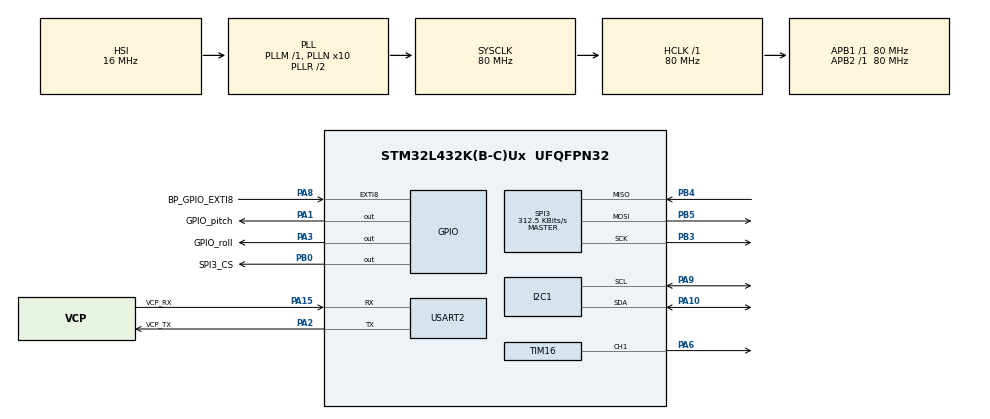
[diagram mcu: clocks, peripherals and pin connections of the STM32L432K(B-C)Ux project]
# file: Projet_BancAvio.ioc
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I2C1.Timing=0x10D19CE4
Mcu.Family=STM32L4
Mcu.Name=STM32L432K(B-C)Ux
Mcu.Package=UFQFPN32
NVIC.EXTI9_5_IRQn=true\:0\:0\:false\:false\:true\:true\:true\:true
NVIC.PriorityGroup=NVIC_PRIORITYGROUP_4
PA0.GPIO_Label=MCO [High speed clock in]
PA0.Signal=RCC_CK_IN
PA1.GPIO_Label=GPIO_pitch
PA1.Signal=GPIO_Output
PA10.Mode=I2C
PA10.Signal=I2C1_SDA
PA13\ (JTMS-SWDIO).GPIO_Label=SWDIO
PA13\ (JTMS-SWDIO).Mode=Serial_Wire
PA13\ (JTMS-SWDIO).Signal=SYS_JTMS-SWDIO
PA14\ (JTCK-SWCLK).GPIO_Label=SWCLK
PA14\ (JTCK-SWCLK).Mode=Serial_Wire
PA14\ (JTCK-SWCLK).Signal=SYS_JTCK-SWCLK
PA15\ (JTDI).GPIO_Label=VCP_RX
PA15\ (JTDI).Mode=Asynchronous
PA15\ (JTDI).Signal=USART2_RX
PA2.GPIO_Label=VCP_TX
PA2.Mode=Asynchronous
PA2.Signal=USART2_TX
PA3.GPIO_Label=GPIO_roll
PA3.Signal=GPIO_Output
PA6.Signal=S_TIM16_CH1
PA8.GPIO_Label=BP_GPIO_EXTI8
PA8.GPIO_ModeDefaultEXTI=GPIO_MODE_IT_FALLING
PA8.GPIO_PuPd=GPIO_PULLUP
PA8.Signal=GPXTI8
PA9.Mode=I2C
PA9.Signal=I2C1_SCL
PB0.GPIO_Label=SPI3_CS
PB0.GPIO_PuPd=GPIO_PULLUP
PB0.GPIO_Speed=GPIO_SPEED_FREQ_HIGH
PB0.PinState=GPIO_PIN_SET
PB0.Signal=GPIO_Output
PB3\ (JTDO-TRACESWO).GPIO_PuPd=GPIO_PULLUP
PB3\ (JTDO-TRACESWO).Mode=Full_Duplex_Master
PB3\ (JTDO-TRACESWO).Signal=SPI3_SCK
PB4\ (NJTRST).GPIO_PuPd=GPIO_PULLUP
PB4\ (NJTRST).Mode=Full_Duplex_Master
PB4\ (NJTRST).Signal=SPI3_MISO
PB5.GPIO_PuPd=GPIO_PULLUP
PB5.Mode=Full_Duplex_Master
PB5.Signal=SPI3_MOSI
PC14-OSC32_IN\ (PC14).Mode=LSE-External-Oscillator
PC14-OSC32_IN\ (PC14).Signal=RCC_OSC32_IN
PC15-OSC32_OUT\ (PC15).Mode=LSE-External-Oscillator
PC15-OSC32_OUT\ (PC15).Signal=RCC_OSC32_OUT
ProjectManager.HeapSize=0x200
ProjectManager.StackSize=0x400
ProjectManager.TargetToolchain=STM32CubeIDE
RCC.ADCFreq_Value=64000000
RCC.AHBFreq_Value=80000000
RCC.APB1Freq_Value=80000000
RCC.APB1TimFreq_Value=80000000
RCC.APB2Freq_Value=80000000
RCC.APB2TimFreq_Value=80000000
RCC.CortexFreq_Value=80000000
RCC.HCLKFreq_Value=80000000
RCC.HSE_VALUE=8000000
RCC.HSI16_VALUE=16000000
RCC.HSI48_VALUE=48000000
RCC.HSI_VALUE=16000000
RCC.MSI_VALUE=4000000
RCC.PLLMUL=RCC_PLLMUL_4
RCC.PLLN=10
RCC.PLLSourceVirtual=RCC_PLLSOURCE_HSI
RCC.SYSCLKFreq_VALUE=80000000
RCC.SYSCLKSource=RCC_SYSCLKSOURCE_PLLCLK
RCC.USBFreq_Value=64000000
RCC.VCOOutputFreq_Value=160000000
SH.S_TIM16_CH1.0=TIM16_CH1,PWM Generation1 CH1
SPI3.BaudRatePrescaler=SPI_BAUDRATEPRESCALER_256
SPI3.CalculateBaudRate=312.5 KBits/s
SPI3.DataSize=SPI_DATASIZE_8BIT
SPI3.Direction=SPI_DIRECTION_2LINES
SPI3.Mode=SPI_MODE_MASTER
SPI3.VirtualType=VM_MASTER
TIM16.Channel=TIM_CHANNEL_1
TIM16.Period=19999
TIM16.Prescaler=79
TIM16.Pulse=1500
USART2.VirtualMode-Asynchronous=VM_ASYNC
VP_FATFS_VS_Generic.Mode=User_defined
VP_TIM16_VS_ClockSourceINT.Mode=Enable_Timer
board=NUCLEO-L432KC

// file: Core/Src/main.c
/* USER CODE BEGIN Header */
/**
  ******************************************************************************
  * @file           : main.c
  * @brief          : Main program body
  ******************************************************************************
  * @attention
  *
  * Copyright (c) 2026 STMicroelectronics.
  * All rights reserved.
  *
  * This software is licensed under terms that can be found in the LICENSE file
  * in the root directory of this software component.
  * If no LICENSE file comes with this software, it is provided AS-IS.
  *
  ******************************************************************************
  */
/* USER CODE END Header */
#include "main.h"
#include "fatfs.h"

/* USER CODE BEGIN Includes */
#include <stdio.h>
#include <string.h>
#include <stdarg.h> //for va_list var arg functions

#include "ssd1306.h"
#include "ssd1306_fonts.h"
#include "BME280_STM32.h"
#include "icm20948.h"
#include "math.h"
/* USER CODE END Includes */

I2C_HandleTypeDef hi2c1;

SPI_HandleTypeDef hspi3;

TIM_HandleTypeDef htim16;

UART_HandleTypeDef huart2;

/* USER CODE BEGIN PV */
#define SPI_CS_GPIO_Port GPIOB
#define SPI_CS_Pin GPIO_PIN_0

//Variables for FatFs deplaced here to be global and accessible in the whole file,
//including in the main loop for file operations
//Evite aussi le Stack overflow qui peut arriver si on déclare ces grosses structures dans la fonction main
FATFS FatFs; 	//Fatfs handle
FIL fil; 		//File handle
FRESULT fres; //Result after operations

volatile uint8_t stop_logging = 0; // pour le BP d'arrêt et de reprise de l'acquisition
volatile uint8_t prev_stop_logging = 0; // pour détecter les changements d'état du flag
volatile uint32_t CTOP = 0; //Compteur de mesures pour limiter le nombre de fichiers créés sur la carte SD

/*------------Pour le gyroscope ICM20948------------*/
axises gyrodata;
axises acceldata;
axises magdata;

#define CENTER_X 30
#define CENTER_Y 40
#define RADIUS   18

#define HORIZON_CENTER_X 100
#define HORIZON_CENTER_Y 40
#define HORIZON_RADIUS   18

#define MAG_OFFSET_X 212.50f
#define MAG_OFFSET_Y 261.00f
#define MAG_OFFSET_Z 283.50f
/* USER CODE END PV */

void SystemClock_Config(void);
static void MX_GPIO_Init(void);
static void MX_USART2_UART_Init(void);
static void MX_I2C1_Init(void);
static void MX_SPI3_Init(void);
static void MX_TIM16_Init(void);
/* USER CODE BEGIN PFP */
void myprintf(const char *fmt, ...);
void draw_compass(float angle_degrees);
void draw_artificial_horizon(float pitch, float roll);
uint32_t calcul_rapport_cyclique(float yaw);
// Fonctions pour l'ARINC 429
uint8_t inversion_byte(uint8_t byte);
int count_set_bits(uint32_t n);
uint32_t generate_arinc_word(uint32_t pressure, uint8_t label);
/* USER CODE END PFP */

/* USER CODE BEGIN 0 */
void myprintf(const char *fmt, ...) {
  static char buffer[256];
  va_list args;
  va_start(args, fmt);
  vsnprintf(buffer, sizeof(buffer), fmt, args);
  va_end(args);

  int len = strlen(buffer);
  HAL_UART_Transmit(&huart2, (uint8_t*)buffer, len, -1);

}
//Pur travail de l'IA; pour avoir une visualisation de l'orientation du gyroscope ICM20948
void draw_compass(float angle_degrees) {
    // 1. Convertir l'angle en radians
    float angle_rad = angle_degrees * (M_PI / 180.0f);

    // 2. Calculer les coordonnées du bout de l'aiguille
    int x_target = CENTER_X + (int)(RADIUS * sin(angle_rad));
    int y_target = CENTER_Y - (int)(RADIUS * cos(angle_rad)); // Moins car le Y de l'écran descend

    // 3. Dessiner le cadran du compas (Cercle extérieur)
    ssd1306_DrawCircle(CENTER_X, CENTER_Y, RADIUS, White);

    // 4. Dessiner un petit repère pour le "Nord" (Le haut de l'écran)
    ssd1306_Line(CENTER_X, CENTER_Y - RADIUS, CENTER_X, CENTER_Y - RADIUS + 5, White);

    // 5. Dessiner l'aiguille (Une simple ligne du centre vers le bord)
    ssd1306_Line(CENTER_X, CENTER_Y, x_target, y_target, White);
}
void draw_artificial_horizon(float pitch, float roll) {
    // 1. Convertir le roulis en radians
    float roll_rad = roll * (M_PI / 180.0f);

    // 2. Calculer le décalage vertical dû au tangage
    // Le facteur 0.5 est ajustable selon la sensibilité visuelle voulue
    int y_offset = (int)(pitch * 0.5f);

    // On limite le décalage pour que la ligne ne sorte pas trop du cercle
    if (y_offset > HORIZON_RADIUS) y_offset = HORIZON_RADIUS;
    if (y_offset < -HORIZON_RADIUS) y_offset = -HORIZON_RADIUS;

    int center_y_line = HORIZON_CENTER_Y + y_offset;

    // 3. Calculer les décalages X et Y pour les extrémités de la ligne
    int dx = (int)(HORIZON_RADIUS * cos(roll_rad));
    int dy = (int)(HORIZON_RADIUS * sin(roll_rad));

    // 4. Dessiner le cadran extérieur
    ssd1306_DrawCircle(HORIZON_CENTER_X, HORIZON_CENTER_Y, HORIZON_RADIUS, White);

    // 5. Dessiner un point central statique (représente ton système/avion)
    ssd1306_Line(HORIZON_CENTER_X - 5, HORIZON_CENTER_Y, HORIZON_CENTER_X + 5, HORIZON_CENTER_Y, White);

    // 6. Dessiner la ligne d'horizon (qui pivote et monte/descend)
    ssd1306_Line(HORIZON_CENTER_X - dx, center_y_line - dy, HORIZON_CENTER_X + dx, center_y_line + dy, White);
}

uint32_t calcul_rapport_cyclique(float yaw){
    // On sait que le yaw varie entre -180° et +180°
    // On veut un rapport cyclique entre 5% de 20 ms = 1 ms (pour -180°) -> seroM à -90°
    // et 10% de 20 ms = 2 ms (pour +180°) -> servoM à +90°
    float nb_ticks = 1500 + (yaw / 360) * 1000;
    if (nb_ticks < 1000) nb_ticks = 1000;   // Limite inférieure
    if (nb_ticks > 2000) nb_ticks = 2000; // Limite supérieure

    return (uint32_t)nb_ticks;
}

/*-------------------------------
Fonctions pour l'ARINC 429
-------------------------------*/

uint8_t inversion_byte(uint8_t byte){
  //L'ARINC 429 inverse le balel, il donne d'abord le MSB et à la fin le LSB
  //Si notre label est 429 = 110101101, on doit envoyer 101101011 (0x5B) et pas 110101101 (0x6D)
  byte = (byte & 0xF0) >> 4 | (byte & 0x0F) << 4;
  byte = (byte & 0xCC) >> 2 | (byte & 0x33) << 2;
  byte = (byte & 0xAA) >> 1 | (byte & 0x55) << 1;
  //Exemple avec : 7654 3210
  //byte1 : 3210 7654
  //byte2 : 1032 5476
  //byte3 : 0123 4567
  return byte;
}

// Fonction pour compter le nombre de bits à 1 dans un entier (utile pour le bit de parité)
int count_set_bits(uint32_t n) {
    int compte = 0;
    while (n) {
        compte += n & 1;
        n >>= 1;
    }
    return compte;
}

uint32_t generate_arinc_word(uint32_t pressure, uint8_t label) {

    uint32_t arinc_word = 0; // On part d'un mot vide : 0000 0000 0000 0000 0000 0000 0000 0000

    // Le label (Bits 1 à 8)
    uint8_t label_reversed = inversion_byte(label);
    // On implémente ce label dans les 8 premiers bits du mot ARINC
    arinc_word = arinc_word | label_reversed;

    // SDI (Bits 9 et 10)
    // L'énoncé demande 0, donc on ne fait rien

    // La donnée pure (Bits 11 à 28)
    uint32_t data_masked = pressure & 0x3FFFF; // Sécurité pour ne garder que 18 bits de données, sans débordement
    arinc_word = arinc_word | (data_masked << 10);

    // SSM (Bits 30 et 31)
    // L'énoncé demande 0. On ne fait rienn.

    // Bit de parité (Bit 32)
    int ones_count = count_set_bits(arinc_word);

    // Si le nombre de '1' est pair, on doit mettre le 32ème bit à '1' pour que le total devienne impair.
    if (ones_count % 2 == 0) {
        arinc_word = arinc_word | ((uint32_t)1 << 31);
        //uint32_t sur le '1' nécessaire apparemment pour ne pas avoir un bit signé qui causerait des problèmes lors du décalage
    }

    return arinc_word;
}
/* USER CODE END 0 */

int main(void)
{

  /* MCU Configuration--------------------------------------------------------*/

  /* Reset of all peripherals, Initializes the Flash interface and the Systick. */
  HAL_Init();

  /* Configure the system clock */
  SystemClock_Config();

  /* Initialize all configured peripherals */
  MX_GPIO_Init();
  MX_USART2_UART_Init();
  MX_I2C1_Init();
  MX_SPI3_Init();
  MX_FATFS_Init();
  MX_TIM16_Init();
  /* USER CODE BEGIN 2 */

  //Initialisation de l'écran OLED
  ssd1306_Init();

  /*------------------------------------------
  Capteur de temperature et de pression BMP280
  --------------------------------------------*/
 int status = BME280_Config (OSRS_2, OSRS_16, MODE_NORMAL, T_SB_0p5, IIR_16);
  if (status!= 0)
    {
  	  Error_Handler();
    }

  BME280_WakeUP();
  float temp=0;
  float press=0;

  /*------------------------------------------
  Carte SD + FatFS demo
  --------------------------------------------*/
  myprintf("TEST SPI EN COURS ...\r\n");

  //Force CS high
  //SD cards require CS to be high when power is applied
  HAL_GPIO_WritePin(SPI_CS_GPIO_Port, SPI_CS_Pin, GPIO_PIN_SET);
  HAL_Delay(10);

  // Envoie 10 octets 0xFF et affiche ce qu'on reçoit
  /*La norme exige de fournir un minimum de 74 impulsions d'horloge
  avec la ligne de transmission (MOSI) maintenue à l'état haut (1)
  avant de pouvoir envoyer la toute première commande.*/
  uint8_t tx = 0xFF, rx = 0x00;
  myprintf("Dummy bytes received: ");
  for(int i = 0; i < 10; i++) {
	  HAL_SPI_TransmitReceive(&hspi3, &tx, &rx, 1, 100);
	  myprintf("%02X ", rx);
  }
  myprintf("\r\n");

  // Force CS low et envoie CMD0 pour réveiller la carte SD
  HAL_GPIO_WritePin(SPI_CS_GPIO_Port, SPI_CS_Pin, GPIO_PIN_RESET);
  HAL_Delay(1);
  uint8_t cmd0[] = {0x40, 0x00, 0x00, 0x00, 0x00, 0x95}; //Norme de réveil pour les SD, 0x95 est le CRC correct pour CMD0
  uint8_t resp[7] = {0};
  HAL_SPI_Transmit(&hspi3, cmd0, 6, 100);

  // Lire 7 octets de réponse
  for(int i = 0; i < 7; i++) {
	  HAL_SPI_TransmitReceive(&hspi3, &tx, &resp[i], 1, 100);
	  myprintf("resp[%d] = %02X\r\n", i, resp[i]);
  }
  //Doit renvoyer "01" pour indiquer que le SD est en mode idle, prêt à recevoir des commandes

  HAL_GPIO_WritePin(SPI_CS_GPIO_Port, SPI_CS_Pin, GPIO_PIN_SET);

  myprintf("\r\n~ Fin de l'initialisation ~\r\n\r\n");

  HAL_Delay(1000); //a short delay is important to let the SD card settle

  //declaration of variables for FatFs deplaced to PV section

  //Open the file system
  fres = f_mount(&FatFs, "", 1); //1=mount now
  if (fres != FR_OK) {
  myprintf("f_mount error (%i)\r\n", fres);
  Error_Handler();
  }

  //Let's get some statistics from the SD card
  DWORD free_clusters, free_sectors, total_sectors;

  FATFS* getFreeFs;
  fres = f_getfree("", &free_clusters, &getFreeFs);
  if (fres != FR_OK) {
  myprintf("f_getfree error (%i)\r\n", fres);
  Error_Handler();
  }

  //Formula comes from ChaN's documentation
  total_sectors = (getFreeFs->n_fatent - 2) * getFreeFs->csize;
  free_sectors = free_clusters * getFreeFs->csize;

  myprintf("SD card stats:\r\n%10lu KiB total drive space.\r\n%10lu KiB available.\r\n", total_sectors / 2, free_sectors / 2);

  /*Créer un nom de fichier unique, à partir du numéro de session précédente */
  int i = 0;
  char nom_fichier[30];
  FILINFO fno;

  // Boucle pour trouver le premier numéro disponible
  do {
      snprintf(nom_fichier, sizeof(nom_fichier), "0:/VOL_%d.CSV", i); //info*
      i++;
  } while (f_stat(nom_fichier, &fno) == FR_OK); // FR_OK = le fichier existe, on continue
  //info* : snprintf(nom_fichier, sizeof(nom_fichier), équivalent de sprintf mais avec une sécurité de la taille du buffer pour éviter les débordements de mémoire

  i--; // On a trouvé un nom libre
  // Donc nom de fichier unique pour cette session qui est prêt à être utilisé pour l'écriture
  myprintf("Nom de fichier unique genere : %s\r\n", nom_fichier);

  /* ----------------------------------
  Gyroscope ICM20948
  --------------------------------- */
  //Initialisation des capteurs de mouvement
  icm20948_init();
  ak09916_init();
  // Angles
  float pitch = 0;
  float roll = 0;
  float yaw = 0;
  //Variables de corrections pour l'OFFSET du magnétomètre et l'inclinaison du capteur
  float pitch_rad = 0;
  float roll_rad = 0;
  float mx = 0;
  float my = 0;
  float mz = 0;
  float mag_x_comp = 0;
  float mag_y_comp = 0;

  /*------------------------------------------
  Variable de fréquence d'acquisition
  --------------------------------------------*/
  uint32_t last_tick = HAL_GetTick();

  /*------------------------------------------
  Pilotage PWM du servomoteur
  -------------------------------------------*/
  float rapport_cyclique = 1500;
  HAL_TIM_PWM_Start(&htim16, TIM_CHANNEL_1);  // Start PWM on TIM1_CH1
  __HAL_TIM_SET_COMPARE(&htim16, TIM_CHANNEL_1, rapport_cyclique); //Initialisation à 1.5 ms, position neutre pour le servo

  /*------------------------------------------
  Message ARINC 429
  --------------------------------------------*/
  //l'ARINC utilise l'octal pour le label ! Source : Wiki
  uint32_t mesg_arinc = 0 ;
  uint8_t label_arinc = 0xAE; //256 en octal, 174 en décimal, 0xAE en hexadécimal

  /*------------------------------------------
  Mise en place d'une LED pour signaler le mode "arrêt" de l'acquisition
  -------------------------------------------*/
  // ~~~ Mode register : MODER ~~~
  GPIOA->MODER &= ~(0b11 << 22); // Reset state pour le pin 11; << 22 car pin 11 mais 2 bits par pin dans le registre MODER
  GPIOA->MODER |= 0b01 << 22; // Mise du pin 11 en mode "output" pour piloter la LED
  // ~~~ Output type register : OTYPER ~~~
  //Mise du pin 11 en "push-pull" pour un signal stable; <<11 car 1 bit/pin dans l'OTYPER
  GPIOA->OTYPER &= ~(0b1 << 11);
  // ~~~ Output speed register : OSPEEDR ~~~
  // Low speed car c'est une LED, pas besoin de haute fréquence, et ça évite les interférences électromagnétiques
  GPIOA->OSPEEDR &= ~(0b11 << 22);
  // ~~~ Pull-up/pull-down register : PUPDR ~~~
  // Pas de pull-up ni pull-down pour une sortie LED, une résistance est physiquement présente sur mon circuit
  GPIOA->PUPDR &= ~(0b11 << 22);
  // ~~~ Set/reset register : BSRR ~~~
  // Dans le BSRR, il y a le BR pour le reset et le BS pour le set. Un bit = 0 veut dire qu'il ne fait rien ("no action")
  // Le BR est mis à 1 pour éteindre la LED, le BS n'est pas utilisé, il reste à 0 pour ne pas allumer la LED
  GPIOA->BSRR = (0b1 << 27);

  /* USER CODE END 2 */

  /* Infinite loop */
  while (1)
  {

    /* USER CODE BEGIN 3 */
    if (stop_logging != prev_stop_logging)
    {
      if (prev_stop_logging == 0) {
        GPIOA->BSRR = (0b1 << 11); //LED allumée en mode pause
        myprintf("Systeme | Acquisition en PAUSE\r\n");
      } else {
        GPIOA->BSRR = (0b1 << 27); //LED éteinte en mode acquisition
        myprintf("Systeme | Acquisition REPRISE\r\n");
      }
      prev_stop_logging = stop_logging;
    }

    if (HAL_GetTick() - last_tick >= 200)
    { //Acquisition toutes les 200ms
      last_tick = HAL_GetTick(); //Reset du timer pour la prochaine acquisition

      if (stop_logging == 0){
        /*------------------------------------------
        Partie gyroscope ICM20948
        --------------------------------------------*/
        //Le capteur de temperature et de pression BMP280
        BME280_Measure(&temp,&press);

        //Le capteur de mouvement ICM20948 (gyroscope, accéléromètre et magnétomètre)
        icm20948_gyro_read(& gyrodata);
        icm20948_accel_read(& acceldata);
        ak09916_mag_read(& magdata);
        mx = magdata.x - MAG_OFFSET_X;
        my = magdata.y - MAG_OFFSET_Y;
        mz = magdata.z - MAG_OFFSET_Z;
        // Calcul des angles
        pitch_rad = atan2(-acceldata.x, sqrt(acceldata.y * acceldata.y + acceldata.z * acceldata.z));
        roll_rad = atan2(acceldata.y, acceldata.z);
        pitch = pitch_rad * 180.0 / M_PI;
        roll = roll_rad * 180.0 / M_PI;

        mag_x_comp = mx * cos(pitch_rad) + mz * sin(pitch_rad);
        mag_y_comp = mx * sin(roll_rad) * sin(pitch_rad) + my * cos(roll_rad) - mz * sin(roll_rad) * cos(pitch_rad);
        yaw = atan2(mag_y_comp, mag_x_comp) * 180.0 / M_PI;

        /*------------------------------------------
        Partie message ARINC 429 pour la pression, à envoyer par UART et dans la microSD
        --------------------------------------------*/
        uint32_t press_dec = press * 100; //Pression*100 pour avoir les deux décimales
        mesg_arinc = generate_arinc_word(press_dec, label_arinc);

        /*------------------------------------------
        Partie affichage Terminal Serie
        --------------------------------------------*/
        myprintf("Serial Terminal | T: %.2f C, P: %.2f hPa \r\n", temp, press);
        myprintf("Message ARINC | 0x%08lX\r\n", mesg_arinc); //%08lX repasse en hexadécimal long pour l'affichage, plus lisible pour un message binaire
        myprintf("ICM-20948 | Lacet : %.2f°\r\n", yaw);
        myprintf("ICM-20948 | Tagage : %.2f°\r\n", pitch);
        myprintf("ICM-20948 | Roulis : %.2f°\r\n", roll);

        /*------------------------------------------
        Partie affichage Écran OLED
        --------------------------------------------*/
        ssd1306_Fill(Black);

        ssd1306_SetCursor(2, 0);
        char strPress[20];
        sprintf(strPress, "P: %.2f hPa", press);
        ssd1306_WriteString(strPress, Font_7x10, White);

        ssd1306_SetCursor(2, 10);
        char strTemp[20];
        sprintf(strTemp, "T: %.2f C", temp);
        ssd1306_WriteString(strTemp, Font_7x10, White);

        draw_compass(yaw);
        draw_artificial_horizon(pitch, roll);

        ssd1306_UpdateScreen();

        /*------------------------------------------
        Partie écriture sur carte SD
        --------------------------------------------*/

        //Now let's try and write a file "write.txt"
        fres = f_open(&fil, nom_fichier, FA_WRITE | FA_OPEN_ALWAYS | FA_OPEN_APPEND);
        if(fres == FR_OK) {
        myprintf("SD | Ouverture de %s pour ecriture\r\n", nom_fichier);
        } else {
        myprintf("SD | Erreur f_open (%i)\r\n", fres);
        }

        char line[250];
        //Copy in a string
        //Format CSV : "temp;press;etc" car Excel sépare grace au "";"
        snprintf(line, sizeof(line), "%.2f;%.2f;%.2f;%.2f;%.2f;0x%08lX\r\n", temp, press, yaw, pitch, roll, mesg_arinc);
        UINT bytesWrote;
        fres = f_write(&fil, line, strlen(line), &bytesWrote);
        if(fres == FR_OK) {
        myprintf("SD | Wrote %i bytes to %s!\r\n", bytesWrote, nom_fichier);
        } else {
        myprintf("SD | f_write error (%i)\r\n", fres);
        }

        //Be a tidy kiwi - don't forget to close your file!
        f_close(&fil);

        /*------------------------------------------
        Pilotage servomoteur
        --------------------------------------------*/
        rapport_cyclique = calcul_rapport_cyclique(yaw);
        __HAL_TIM_SET_COMPARE(&htim16, TIM_CHANNEL_1, rapport_cyclique);

        /*------------------------------------------
        LEDs d'alterte sur dépassement de seuils (40°) pour le tangage et le roulis
        --------------------------------------------*/
        // Vérification du Tangage (Pitch)
        if (fabs(pitch) > 40.0f) {
            HAL_GPIO_WritePin(GPIOA, GPIO_pitch_Pin, GPIO_PIN_SET);
        } else {
            HAL_GPIO_WritePin(GPIOA, GPIO_pitch_Pin, GPIO_PIN_RESET);
        }
        // Vérification du Roulis (Roll)
        if (fabs(roll) > 40.0f) {
            HAL_GPIO_WritePin(GPIOA, GPIO_roll_Pin, GPIO_PIN_SET);
        } else {
            HAL_GPIO_WritePin(GPIOA, GPIO_roll_Pin, GPIO_PIN_RESET);
        }

        /*------------------------------------------
        Limitation du nombre de mesures
        --------------------------------------------*/
        CTOP++;
        if (CTOP > 900) { //On s'arrête après 900 mesures, <=> 3 min d'acquisition pour éviter de remplir la carte SD
          myprintf("  ~~ limite (900) atteinte, arrêt de la journalisation ~~  \r\n");
          break;
        }
      }
    }
  }
  //demontage de la carte SD pour éviter les corruptions de données
  f_mount(NULL, "", 0);
  myprintf("SD | Carte SD demontee en toute securite.\r\n");

  // Bloque le processeur ici indefiniment
  while(1) {
    //LED clignotante pour signaler la fin de l'acquisition
    GPIOA->BSRR = (0b1 << 11);
    HAL_Delay(200);
    GPIOA->BSRR = (0b1 << 27);
    HAL_Delay(200);
  }
  /* USER CODE END 3 */
}

void SystemClock_Config(void)
{
  RCC_OscInitTypeDef RCC_OscInitStruct = {0};
  RCC_ClkInitTypeDef RCC_ClkInitStruct = {0};

  /** Configure the main internal regulator output voltage
  */
  if (HAL_PWREx_ControlVoltageScaling(PWR_REGULATOR_VOLTAGE_SCALE1) != HAL_OK)
  {
    Error_Handler();
  }

  /** Initializes the RCC Oscillators according to the specified parameters
  * in the RCC_OscInitTypeDef structure.
  */
  RCC_OscInitStruct.OscillatorType = RCC_OSCILLATORTYPE_HSI;
  RCC_OscInitStruct.HSIState = RCC_HSI_ON;
  RCC_OscInitStruct.HSICalibrationValue = RCC_HSICALIBRATION_DEFAULT;
  RCC_OscInitStruct.PLL.PLLState = RCC_PLL_ON;
  RCC_OscInitStruct.PLL.PLLSource = RCC_PLLSOURCE_HSI;
  RCC_OscInitStruct.PLL.PLLM = 1;
  RCC_OscInitStruct.PLL.PLLN = 10;
  RCC_OscInitStruct.PLL.PLLP = RCC_PLLP_DIV7;
  RCC_OscInitStruct.PLL.PLLQ = RCC_PLLQ_DIV2;
  RCC_OscInitStruct.PLL.PLLR = RCC_PLLR_DIV2;
  if (HAL_RCC_OscConfig(&RCC_OscInitStruct) != HAL_OK)
  {
    Error_Handler();
  }

  /** Initializes the CPU, AHB and APB buses clocks
  */
  RCC_ClkInitStruct.ClockType = RCC_CLOCKTYPE_HCLK|RCC_CLOCKTYPE_SYSCLK
                              |RCC_CLOCKTYPE_PCLK1|RCC_CLOCKTYPE_PCLK2;
  RCC_ClkInitStruct.SYSCLKSource = RCC_SYSCLKSOURCE_PLLCLK;
  RCC_ClkInitStruct.AHBCLKDivider = RCC_SYSCLK_DIV1;
  RCC_ClkInitStruct.APB1CLKDivider = RCC_HCLK_DIV1;
  RCC_ClkInitStruct.APB2CLKDivider = RCC_HCLK_DIV1;

  if (HAL_RCC_ClockConfig(&RCC_ClkInitStruct, FLASH_LATENCY_4) != HAL_OK)
  {
    Error_Handler();
  }
}

static void MX_I2C1_Init(void)
{

  hi2c1.Instance = I2C1;
  hi2c1.Init.Timing = 0x10D19CE4;
  hi2c1.Init.OwnAddress1 = 0;
  hi2c1.Init.AddressingMode = I2C_ADDRESSINGMODE_7BIT;
  hi2c1.Init.DualAddressMode = I2C_DUALADDRESS_DISABLE;
  hi2c1.Init.OwnAddress2 = 0;
  hi2c1.Init.OwnAddress2Masks = I2C_OA2_NOMASK;
  hi2c1.Init.GeneralCallMode = I2C_GENERALCALL_DISABLE;
  hi2c1.Init.NoStretchMode = I2C_NOSTRETCH_DISABLE;
  if (HAL_I2C_Init(&hi2c1) != HAL_OK)
  {
    Error_Handler();
  }

  /** Configure Analogue filter
  */
  if (HAL_I2CEx_ConfigAnalogFilter(&hi2c1, I2C_ANALOGFILTER_ENABLE) != HAL_OK)
  {
    Error_Handler();
  }

  /** Configure Digital filter
  */
  if (HAL_I2CEx_ConfigDigitalFilter(&hi2c1, 0) != HAL_OK)
  {
    Error_Handler();
  }

}

static void MX_SPI3_Init(void)
{

  /* SPI3 parameter configuration*/
  hspi3.Instance = SPI3;
  hspi3.Init.Mode = SPI_MODE_MASTER;
  hspi3.Init.Direction = SPI_DIRECTION_2LINES;
  hspi3.Init.DataSize = SPI_DATASIZE_8BIT;
  hspi3.Init.CLKPolarity = SPI_POLARITY_LOW;
  hspi3.Init.CLKPhase = SPI_PHASE_1EDGE;
  hspi3.Init.NSS = SPI_NSS_SOFT;
  hspi3.Init.BaudRatePrescaler = SPI_BAUDRATEPRESCALER_256;
  hspi3.Init.FirstBit = SPI_FIRSTBIT_MSB;
  hspi3.Init.TIMode = SPI_TIMODE_DISABLE;
  hspi3.Init.CRCCalculation = SPI_CRCCALCULATION_DISABLE;
  hspi3.Init.CRCPolynomial = 7;
  hspi3.Init.CRCLength = SPI_CRC_LENGTH_DATASIZE;
  hspi3.Init.NSSPMode = SPI_NSS_PULSE_ENABLE;
  if (HAL_SPI_Init(&hspi3) != HAL_OK)
  {
    Error_Handler();
  }

}

static void MX_TIM16_Init(void)
{

  TIM_OC_InitTypeDef sConfigOC = {0};
  TIM_BreakDeadTimeConfigTypeDef sBreakDeadTimeConfig = {0};

  htim16.Instance = TIM16;
  htim16.Init.Prescaler = 79;
  htim16.Init.CounterMode = TIM_COUNTERMODE_UP;
  htim16.Init.Period = 19999;
  htim16.Init.ClockDivision = TIM_CLOCKDIVISION_DIV1;
  htim16.Init.RepetitionCounter = 0;
  htim16.Init.AutoReloadPreload = TIM_AUTORELOAD_PRELOAD_DISABLE;
  if (HAL_TIM_Base_Init(&htim16) != HAL_OK)
  {
    Error_Handler();
  }
  if (HAL_TIM_PWM_Init(&htim16) != HAL_OK)
  {
    Error_Handler();
  }
  sConfigOC.OCMode = TIM_OCMODE_PWM1;
  sConfigOC.Pulse = 1500;
  sConfigOC.OCPolarity = TIM_OCPOLARITY_HIGH;
  sConfigOC.OCNPolarity = TIM_OCNPOLARITY_HIGH;
  sConfigOC.OCFastMode = TIM_OCFAST_DISABLE;
  sConfigOC.OCIdleState = TIM_OCIDLESTATE_RESET;
  sConfigOC.OCNIdleState = TIM_OCNIDLESTATE_RESET;
  if (HAL_TIM_PWM_ConfigChannel(&htim16, &sConfigOC, TIM_CHANNEL_1) != HAL_OK)
  {
    Error_Handler();
  }
  sBreakDeadTimeConfig.OffStateRunMode = TIM_OSSR_DISABLE;
  sBreakDeadTimeConfig.OffStateIDLEMode = TIM_OSSI_DISABLE;
  sBreakDeadTimeConfig.LockLevel = TIM_LOCKLEVEL_OFF;
  sBreakDeadTimeConfig.DeadTime = 0;
  sBreakDeadTimeConfig.BreakState = TIM_BREAK_DISABLE;
  sBreakDeadTimeConfig.BreakPolarity = TIM_BREAKPOLARITY_HIGH;
  sBreakDeadTimeConfig.AutomaticOutput = TIM_AUTOMATICOUTPUT_DISABLE;
  if (HAL_TIMEx_ConfigBreakDeadTime(&htim16, &sBreakDeadTimeConfig) != HAL_OK)
  {
    Error_Handler();
  }
  HAL_TIM_MspPostInit(&htim16);

}

static void MX_USART2_UART_Init(void)
{

  huart2.Instance = USART2;
  huart2.Init.BaudRate = 115200;
  huart2.Init.WordLength = UART_WORDLENGTH_8B;
  huart2.Init.StopBits = UART_STOPBITS_1;
  huart2.Init.Parity = UART_PARITY_NONE;
  huart2.Init.Mode = UART_MODE_TX_RX;
  huart2.Init.HwFlowCtl = UART_HWCONTROL_NONE;
  huart2.Init.OverSampling = UART_OVERSAMPLING_16;
  huart2.Init.OneBitSampling = UART_ONE_BIT_SAMPLE_DISABLE;
  huart2.AdvancedInit.AdvFeatureInit = UART_ADVFEATURE_NO_INIT;
  if (HAL_UART_Init(&huart2) != HAL_OK)
  {
    Error_Handler();
  }

}

static void MX_GPIO_Init(void)
{
  GPIO_InitTypeDef GPIO_InitStruct = {0};

  /* GPIO Ports Clock Enable */
  __HAL_RCC_GPIOC_CLK_ENABLE();
  __HAL_RCC_GPIOA_CLK_ENABLE();
  __HAL_RCC_GPIOB_CLK_ENABLE();

  /*Configure GPIO pin Output Level */
  HAL_GPIO_WritePin(GPIOA, GPIO_pitch_Pin|GPIO_roll_Pin, GPIO_PIN_RESET);

  /*Configure GPIO pin Output Level */
  HAL_GPIO_WritePin(SPI3_CS_GPIO_Port, SPI3_CS_Pin, GPIO_PIN_SET);

  /*Configure GPIO pins : GPIO_pitch_Pin GPIO_roll_Pin */
  GPIO_InitStruct.Pin = GPIO_pitch_Pin|GPIO_roll_Pin;
  GPIO_InitStruct.Mode = GPIO_MODE_OUTPUT_PP;
  GPIO_InitStruct.Pull = GPIO_NOPULL;
  GPIO_InitStruct.Speed = GPIO_SPEED_FREQ_LOW;
  HAL_GPIO_Init(GPIOA, &GPIO_InitStruct);

  /*Configure GPIO pin : SPI3_CS_Pin */
  GPIO_InitStruct.Pin = SPI3_CS_Pin;
  GPIO_InitStruct.Mode = GPIO_MODE_OUTPUT_PP;
  GPIO_InitStruct.Pull = GPIO_PULLUP;
  GPIO_InitStruct.Speed = GPIO_SPEED_FREQ_HIGH;
  HAL_GPIO_Init(SPI3_CS_GPIO_Port, &GPIO_InitStruct);

  /*Configure GPIO pin : BP_GPIO_EXTI8_Pin */
  GPIO_InitStruct.Pin = BP_GPIO_EXTI8_Pin;
  GPIO_InitStruct.Mode = GPIO_MODE_IT_FALLING;
  GPIO_InitStruct.Pull = GPIO_PULLUP;
  HAL_GPIO_Init(BP_GPIO_EXTI8_GPIO_Port, &GPIO_InitStruct);

  /* EXTI interrupt init*/
  HAL_NVIC_SetPriority(EXTI9_5_IRQn, 0, 0);
  HAL_NVIC_EnableIRQ(EXTI9_5_IRQn);

}

/* USER CODE BEGIN 4 */
void HAL_GPIO_EXTI_Callback(uint16_t GPIO_Pin)
{
  static uint32_t last_BPclick = 0; //statique pour conserver la valeur entre les appels de la fonction, corrigeant ma faute d'anti-rebond
  uint32_t actual_BPclick = 0;
  if(GPIO_Pin == BP_GPIO_EXTI8_Pin)
  {
    actual_BPclick = HAL_GetTick();
    if (actual_BPclick - last_BPclick >= 200)
    {
      stop_logging = !stop_logging; // Inversion de l'état du flag}
      last_BPclick = actual_BPclick; // Mise à jour du temps du dernier clic pour éviter les rebonds
    }
  }
}
/* USER CODE END 4 */

void Error_Handler(void)
{
  __disable_irq();
  while (1)
  {
  }
}
